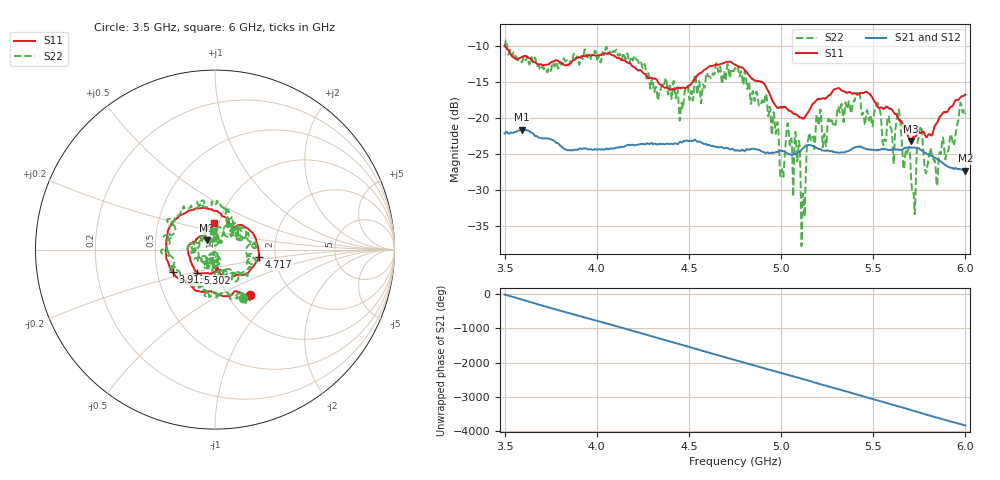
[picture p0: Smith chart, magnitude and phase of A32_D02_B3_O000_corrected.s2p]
! Created with skrf 1.9.0 (http://scikit-rf.org).
# Hz S RI R 50.0
!freq ReS11 ImS11 ReS21 ImS21 ReS12 ImS12 ReS22 ImS22
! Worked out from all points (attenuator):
!   1601 points, 3.5 GHz to 6 GHz, reference 50 ohm
!   highest |S21| = -21.60 dB at 3.592 GHz (marker M1); lowest = -27.3 dB at 6 GHz (marker M2)
!   lowest |S11| = -23.1 dB at 5.703 GHz (marker M3), VSWR 1.15, Z = 45.3 + j4.75 ohm
!   |S11| at or under -10 dB: 3.503 GHz to end of sweep
!   |S22| runs from -37.8 to -9.2 dB; largest |S21 - S12| = 0.00094
!   S11 on the Smith chart (normalised r, x): 3.5 GHz: 1.27, -0.71; 3.913 GHz: 0.60, -0.16; 4.717 GHz: 1.64, -0.15; 5.302 GHz: 0.80, -0.21; 6 GHz: 0.95, +0.28
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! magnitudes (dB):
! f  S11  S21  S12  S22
! 3.5 GHz  -9.9  -22.1  -22.1  -10.1
! 3.592 GHz  -11.5  -21.6  -21.6  -12.2
! 3.913 GHz  -11.5  -24.2  -24.2  -11.5
! 3.917 GHz  -11.5  -24.3  -24.2  -11.3
! 4.334 GHz  -15.1  -23.6  -23.5  -17.3
! 4.717 GHz  -12.1  -24.2  -24.3  -13.8
! 4.75 GHz  -12.5  -24.5  -24.4  -13.0
! 4.927 GHz  -16.0  -24.7  -24.7  -18.8
! 5.005 GHz  -18.4  -24.5  -24.5  -27.1
! 5.034 GHz  -18.8  -25.0  -24.8  -20.8
! 5.088 GHz  -19.6  -24.9  -24.9  -26.0
! 5.119 GHz  -20.0  -24.2  -24.1  -30.4
! 5.167 GHz  -18.2  -23.8  -23.8  -23.0
! 5.302 GHz  -15.9  -24.7  -24.7  -19.9
! 5.417 GHz  -16.7  -24.0  -24.0  -16.5
! 5.584 GHz  -18.6  -24.4  -24.4  -19.7
! 5.638 GHz  -20.1  -24.3  -24.3  -18.8
! 5.703 GHz  -23.1  -24.1  -24.1  -27.1
! 5.719 GHz  -22.6  -24.1  -24.0  -30.4
! 5.752 GHz  -22.0  -24.3  -24.2  -21.6
! 5.842 GHz  -20.8  -25.6  -25.5  -28.4
! 6 GHz  -16.7  -27.3  -27.2  -19.5
